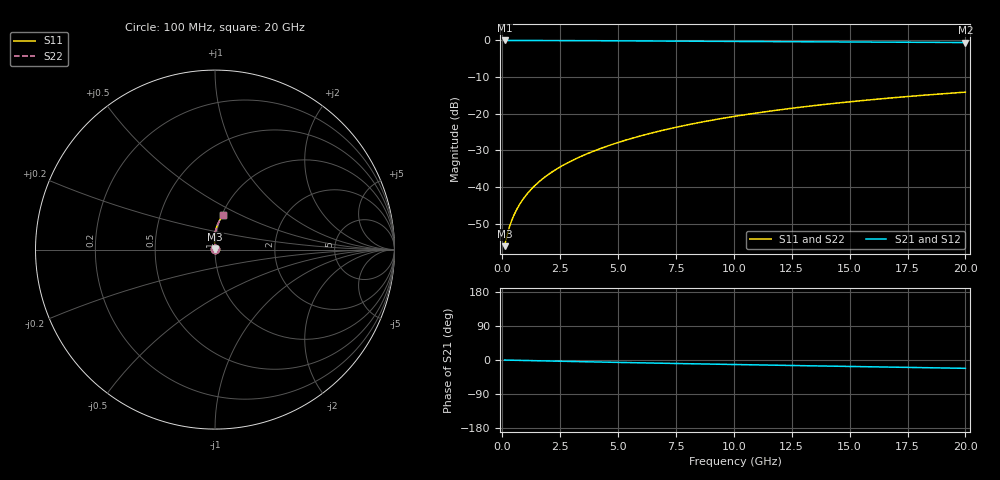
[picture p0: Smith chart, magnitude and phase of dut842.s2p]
! Touchstone file exported from HFSS 2024.1.0
!  File:  C:/UserFiles/LocalFiles/RDL_TSV_Batchsim/temp_RDL_bottom_842_1779863734.aedt
!  Generated:  02:38:10 PM May 27, 2026
!  Design:  RDL_bottom
!  Project:  temp_RDL_bottom_842_1779863734
!  Setup:  Setup1
!  Solution:  Sweep
! Variables:
!  dtsv = 10.80580581um
!  hbump = 3um
!  htsv = 97.87um
!  ldown = 302.26um
!  lrdl = 100um
!  p = 40
!  p1 = 51.59um
!  rhole = 1um
!  t = 450um
!  tdown = 3.55um
!  trdl = 3.915915916um
!  wdown = 28.52um
!  wrdl = 20um
# GHz S MA R 50.000000
! Terminal data exported
! Port[1] = RDL1_T1
! Port[2] = RDL1_T2
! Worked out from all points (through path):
!   200 points, 100 MHz to 20 GHz, reference 50 ohm
!   highest |S21| = -0.01 dB at 100 MHz (marker M1); lowest = -0.6 dB at 20 GHz (marker M2)
!   group delay of S21, straight-line fit = 3.01 ps
!   lowest |S11| = -56.1 dB at 100 MHz (marker M3), VSWR 1.00, Z = 50.1 + j0.0862 ohm
!   |S11| at or under -10 dB: start of sweep to end of sweep
!   |S22| runs from -56.1 to -14.1 dB; largest |S21 - S12| = 3.6e-15
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0.1  0.001569 33.2  0.9987 -0.1  0.9987 -0.1  0.001569 33.2
! Gamma 0 0 0 0
! Port Impedance 50 0 50 0
0.2  0.002169 49.9  0.9986 -0.3  0.9986 -0.3  0.002169 49.9
0.3  0.00282 58.6  0.9985 -0.4  0.9985 -0.4  0.00282 58.6
0.4  0.003475 64.1  0.9983 -0.5  0.9983 -0.5  0.003475 64.1
0.5  0.004136 68.2  0.9982 -0.7  0.9982 -0.7  0.004136 68.2
0.6  0.004806 71.3  0.9982 -0.8  0.9982 -0.8  0.004806 71.3
0.8  0.006176 75.9  0.998 -1.1  0.998 -1.1  0.006176 75.8
1.1  0.008291 80.3  0.9976 -1.5  0.9976 -1.5  0.008291 80.3
1.3  0.009735 82.3  0.9974 -1.7  0.9974 -1.7  0.009735 82.3
1.6  0.01194 84.6  0.9969 -2.1  0.9969 -2.1  0.01194 84.6
2.1  0.01573 87.3  0.996 -2.8  0.996 -2.8  0.01573 87.3
2.7  0.02047 89.4  0.9946 -3.5  0.9946 -3.5  0.02047 89.4
3.5  0.02712 91.2  0.9923 -4.5  0.9923 -4.5  0.02711 91.2
4.2  0.03325 92.2  0.9901 -5.4  0.9901 -5.4  0.03324 92.2
5  0.0406 92.7  0.9873 -6.4  0.9873 -6.4  0.04059 92.7
6.8  0.05826 92.6  0.9806 -8.5  0.9806 -8.5  0.05825 92.6
8.4  0.07487 91.4  0.9746 -10.2  0.9746 -10.2  0.07486 91.4
10.1  0.09303 89.6  0.9684 -12.0  0.9684 -12.0  0.09301 89.6
11.7  0.1103 87.7  0.9628 -13.7  0.9628 -13.7  0.1103 87.7
13.4  0.1286 85.5  0.9571 -15.4  0.9571 -15.4  0.1286 85.5
16.7  0.1635 81.3  0.9465 -18.7  0.9465 -18.7  0.1635 81.3
20  0.1973 77.1  0.9362 -22.0  0.9362 -22.0  0.1972 77.1
